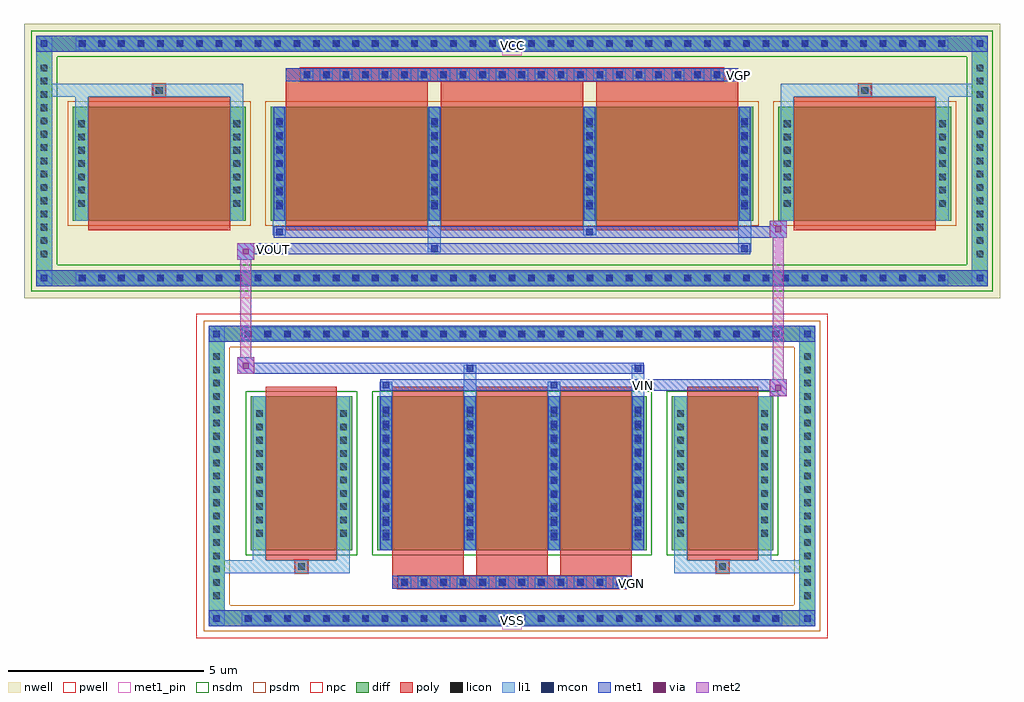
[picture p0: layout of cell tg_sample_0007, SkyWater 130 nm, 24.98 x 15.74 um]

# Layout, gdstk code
import gdstk
lib = gdstk.Library(unit=1e-6, precision=5e-09)
def R(c, l, rs):  # rectangles x0, y0, x1, y1
    for r in rs: c.add(gdstk.rectangle(r[:2], r[2:], *l))
def A(c, l, x, y, w, h, nx, ny, dx, dy):  # array of equal rectangles
    R(c, l, [(x+i*dx, y+j*dy, x+i*dx+w, y+j*dy+h) for i in range(nx) for j in range(ny)])
def P(c, l, *ps):  # polygons
    for p in ps: c.add(gdstk.Polygon(p, *l))
nwell = (64, 20)
pwell = (64, 44)
diff = (65, 20)
poly = (66, 20)
licon = (66, 44)
li1 = (67, 20)
mcon = (67, 44)
met1_pin = (68, 16)
met1 = (68, 20)
via = (68, 44)
met2 = (69, 20)
nsdm = (93, 44)
psdm = (94, 20)
npc = (95, 20)

tg_sample_0007 = lib.new_cell('tg_sample_0007')
R(tg_sample_0007, nwell, [(-12.49,4.555,12.49,11.585)])
R(tg_sample_0007, pwell, [(-8.075,-4.155,8.075,4.155)])
A(tg_sample_0007, diff, -6.955, -3.845, 0.41, 0.41, 28, 2, 0.5, 7.28)
A(tg_sample_0007, diff, -7.765, -3.265, 0.41, 0.41, 1, 19, 0, 0.34)
A(tg_sample_0007, diff, 7.355, -3.265, 0.41, 0.41, 1, 19, 0, 0.34)
A(tg_sample_0007, diff, -11.205, 4.865, 0.41, 0.41, 45, 2, 0.5, 6)
A(tg_sample_0007, diff, -12.18, 5.485, 0.41, 0.41, 1, 15, 0, 0.34)
A(tg_sample_0007, diff, 11.77, 5.485, 0.41, 0.41, 1, 15, 0, 0.34)
R(tg_sample_0007, diff, [(-6.955,-3.845,6.955,-3.435), (-7.765,-3.265,-7.355,3.265), (7.355,-3.265,7.765,3.265), (-6.69,-1.9,-4.09,2.04), (-3.45,-1.9,3.45,2.04), (4.09,-1.9,6.69,2.04), (-6.955,3.435,6.955,3.845), (-11.205,4.865,11.205,5.275), (-12.18,5.485,-11.77,10.655), (11.77,5.485,12.18,10.655), (-11.24,6.54,-6.82,9.46), (-6.18,6.54,6.18,9.46), (6.82,6.54,11.24,9.46), (-11.205,10.865,11.205,11.275)])
P(tg_sample_0007, diff, [(7.765,3.845),(-7.765,3.845),(-7.765,-3.435),(-7.355,-3.435),(-7.355,3.435),(7.355,3.435),(7.355,-3.435),(-7.355,-3.435),(-7.765,-3.435),(-7.765,-3.845),(7.765,-3.845)],
  [(12.18,4.865),(-12.18,4.865),(-12.18,10.865),(-11.77,10.865),(-11.77,5.275),(11.77,5.275),(11.77,10.865),(-11.77,10.865),(-12.18,10.865),(-12.18,11.275),(12.18,11.275)])
A(tg_sample_0007, poly, -2.915, -2.88, 0.33, 0.33, 12, 1, 0.5, 0)
A(tg_sample_0007, poly, -3.06, -2.55, 1.82, 0.4, 3, 1, 2.15, 0)
A(tg_sample_0007, poly, -3.06, -2.15, 1.82, 4.44, 3, 1, 2.15, 0)
A(tg_sample_0007, poly, -5.79, 6.29, 3.64, 3.42, 3, 1, 3.97, 0)
A(tg_sample_0007, poly, -5.79, 9.71, 3.64, 0.4, 3, 1, 3.97, 0)
A(tg_sample_0007, poly, -5.415, 10.11, 0.33, 0.33, 22, 1, 0.5, 0)
R(tg_sample_0007, poly, [(-3.06,-2.88,3.06,-2.55), (-5.555,-2.48,-5.225,-2.15), (-5.555,-2.48,-5.225,-2.15), (5.225,-2.48,5.555,-2.15), (5.225,-2.48,5.555,-2.15), (-6.3,-2.15,-4.48,2.29), (4.48,-2.15,6.3,2.29), (-10.85,6.29,-7.21,9.71), (7.21,6.29,10.85,9.71), (-9.195,9.71,-8.865,10.04), (-9.195,9.71,-8.865,10.04), (8.865,9.71,9.195,10.04), (8.865,9.71,9.195,10.04), (-5.79,10.11,5.79,10.44)])
A(tg_sample_0007, licon, -6.835, -3.725, 0.17, 0.17, 28, 2, 0.5, 7.28)
A(tg_sample_0007, licon, -7.645, -3.145, 0.17, 0.17, 1, 19, 0, 0.34)
A(tg_sample_0007, licon, 7.475, -3.145, 0.17, 0.17, 1, 19, 0, 0.34)
A(tg_sample_0007, licon, -2.835, -2.8, 0.17, 0.17, 12, 1, 0.5, 0)
A(tg_sample_0007, licon, -6.55, -1.545, 0.17, 0.17, 1, 10, 0, 0.34)
A(tg_sample_0007, licon, -4.4, -1.545, 0.17, 0.17, 1, 10, 0, 0.34)
A(tg_sample_0007, licon, -3.31, -1.545, 0.17, 0.17, 4, 10, 2.15, 0.34)
A(tg_sample_0007, licon, 4.23, -1.545, 0.17, 0.17, 1, 10, 0, 0.34)
A(tg_sample_0007, licon, 6.38, -1.545, 0.17, 0.17, 1, 10, 0, 0.34)
A(tg_sample_0007, licon, -11.085, 4.985, 0.17, 0.17, 45, 2, 0.5, 6)
A(tg_sample_0007, licon, -12.06, 5.605, 0.17, 0.17, 1, 15, 0, 0.34)
A(tg_sample_0007, licon, 11.89, 5.605, 0.17, 0.17, 1, 15, 0, 0.34)
A(tg_sample_0007, licon, -11.1, 6.895, 0.17, 0.17, 1, 7, 0, 0.34)
A(tg_sample_0007, licon, -7.13, 6.895, 0.17, 0.17, 1, 7, 0, 0.34)
A(tg_sample_0007, licon, -6.04, 6.895, 0.17, 0.17, 4, 7, 3.97, 0.34)
A(tg_sample_0007, licon, 6.96, 6.895, 0.17, 0.17, 1, 7, 0, 0.34)
A(tg_sample_0007, licon, 10.93, 6.895, 0.17, 0.17, 1, 7, 0, 0.34)
A(tg_sample_0007, licon, -5.335, 10.19, 0.17, 0.17, 22, 1, 0.5, 0)
R(tg_sample_0007, licon, [(-5.475,-2.4,-5.305,-2.23), (5.305,-2.4,5.475,-2.23), (-9.115,9.79,-8.945,9.96), (8.945,9.79,9.115,9.96)])
A(tg_sample_0007, li1, -6.915, -3.805, 0.33, 0.33, 28, 2, 0.5, 7.28)
A(tg_sample_0007, li1, -7.725, -3.225, 0.33, 0.33, 1, 19, 0, 0.34)
A(tg_sample_0007, li1, 7.395, -3.225, 0.33, 0.33, 1, 19, 0, 0.34)
A(tg_sample_0007, li1, -2.915, -2.88, 0.33, 0.33, 12, 1, 0.5, 0)
A(tg_sample_0007, li1, -3.39, -1.9, 0.33, 3.94, 4, 1, 2.15, 0)
A(tg_sample_0007, li1, -3.31, -1.635, 0.17, 0.17, 4, 10, 2.15, 0.36)
A(tg_sample_0007, li1, -3.31, -1.635, 0.17, 3.41, 4, 1, 2.15, 0)
A(tg_sample_0007, li1, -6.63, -1.625, 0.33, 0.33, 1, 10, 0, 0.34)
A(tg_sample_0007, li1, -4.48, -1.625, 0.33, 0.33, 1, 10, 0, 0.34)
A(tg_sample_0007, li1, -3.39, -1.625, 0.33, 0.33, 4, 10, 2.15, 0.34)
A(tg_sample_0007, li1, 4.15, -1.625, 0.33, 0.33, 1, 10, 0, 0.34)
A(tg_sample_0007, li1, 6.3, -1.625, 0.33, 0.33, 1, 10, 0, 0.34)
A(tg_sample_0007, li1, -11.165, 4.905, 0.33, 0.33, 45, 2, 0.5, 6)
A(tg_sample_0007, li1, -12.14, 5.525, 0.33, 0.33, 1, 15, 0, 0.34)
A(tg_sample_0007, li1, 11.81, 5.525, 0.33, 0.33, 1, 15, 0, 0.34)
A(tg_sample_0007, li1, -6.12, 6.54, 0.33, 2.92, 4, 1, 3.97, 0)
A(tg_sample_0007, li1, -11.18, 6.815, 0.33, 0.33, 1, 7, 0, 0.34)
A(tg_sample_0007, li1, -7.21, 6.815, 0.33, 0.33, 1, 7, 0, 0.34)
A(tg_sample_0007, li1, -6.12, 6.815, 0.33, 0.33, 4, 7, 3.97, 0.34)
A(tg_sample_0007, li1, 6.88, 6.815, 0.33, 0.33, 1, 7, 0, 0.34)
A(tg_sample_0007, li1, 10.85, 6.815, 0.33, 0.33, 1, 7, 0, 0.34)
A(tg_sample_0007, li1, -6.04, 6.835, 0.17, 0.17, 4, 7, 3.97, 0.36)
A(tg_sample_0007, li1, -6.04, 6.835, 0.17, 2.33, 4, 1, 3.97, 0)
A(tg_sample_0007, li1, -5.415, 10.11, 0.33, 0.33, 22, 1, 0.5, 0)
R(tg_sample_0007, li1, [(-7.765,-3.845,-7.355,-3.435), (7.355,-3.845,7.765,-3.435), (-6.915,-3.805,6.915,-3.475), (-7.645,-3.725,-7.475,-3.555), (-7.645,-3.725,-7.475,-3.555), (7.475,-3.725,7.645,-3.555), (7.475,-3.725,7.645,-3.555), (-7.765,-3.435,-7.355,3.435), (7.355,-3.435,7.765,3.435), (-7.765,-2.48,-5.555,-2.15), (-6.63,-2.48,-5.555,-2.15), (-6.63,-2.48,-6.3,-1.9), (-5.555,-2.48,-5.225,-2.15), (-5.225,-2.48,-4.15,-2.15), (-4.48,-2.48,-4.15,-1.9), (4.15,-2.48,5.225,-2.15), (4.15,-2.48,4.48,-1.9), (5.225,-2.48,5.555,-2.15), (5.225,-2.48,7.765,-2.15), (5.555,-2.48,6.63,-2.15), (6.3,-2.48,6.63,-1.9), (-6.63,-1.9,-6.3,2.04), (-4.48,-1.9,-4.15,2.04), (4.15,-1.9,4.48,2.04), (6.3,-1.9,6.63,2.04), (-3.39,2.04,-3.06,2.415), (-1.24,2.04,-0.91,2.845), (0.91,2.04,1.24,2.415), (3.06,2.04,3.39,2.845), (-3.31,2.245,-3.14,2.415), (0.99,2.245,1.16,2.415), (-1.16,2.675,-0.99,2.845), (3.14,2.675,3.31,2.845), (-7.765,3.435,-7.355,3.845), (7.355,3.435,7.765,3.845), (-6.915,3.475,6.915,3.805), (-7.645,3.555,-7.475,3.725), (-7.645,3.555,-7.475,3.725), (7.475,3.555,7.645,3.725), (7.475,3.555,7.645,3.725), (-12.18,4.865,-11.77,5.275), (11.77,4.865,12.18,5.275), (-11.165,4.905,11.165,5.235), (-12.06,4.985,-11.89,5.155), (-12.06,4.985,-11.89,5.155), (11.89,4.985,12.06,5.155), (11.89,4.985,12.06,5.155), (-12.18,5.275,-11.77,10.865), (11.77,5.275,12.18,10.865), (-2.15,5.735,-1.82,6.54), (-2.07,5.735,-1.9,5.905), (5.79,5.735,6.12,6.54), (5.87,5.735,6.04,5.905), (-6.12,6.165,-5.79,6.54), (-6.04,6.165,-5.87,6.335), (1.82,6.165,2.15,6.54), (1.9,6.165,2.07,6.335), (-11.18,6.54,-10.85,9.46), (-7.21,6.54,-6.88,9.46), (6.88,6.54,7.21,9.46), (10.85,6.54,11.18,9.46), (-11.18,9.46,-10.85,10.04), (-7.21,9.46,-6.88,10.04), (6.88,9.46,7.21,10.04), (10.85,9.46,11.18,10.04), (-12.18,9.71,-9.195,10.04), (-11.18,9.71,-9.195,10.04), (-9.195,9.71,-8.865,10.04), (-8.865,9.71,-6.88,10.04), (6.88,9.71,8.865,10.04), (8.865,9.71,9.195,10.04), (8.865,9.71,12.18,10.04), (9.195,9.71,11.18,10.04), (-12.18,10.865,-11.77,11.275), (11.77,10.865,12.18,11.275), (-11.165,10.905,11.165,11.235), (-12.06,10.985,-11.89,11.155), (-12.06,10.985,-11.89,11.155), (11.89,10.985,12.06,11.155), (11.89,10.985,12.06,11.155)])
A(tg_sample_0007, mcon, -6.835, -3.725, 0.17, 0.17, 28, 2, 0.5, 7.28)
A(tg_sample_0007, mcon, -2.835, -2.8, 0.17, 0.17, 12, 1, 0.5, 0)
A(tg_sample_0007, mcon, -3.31, -1.635, 0.17, 0.17, 4, 10, 2.15, 0.36)
A(tg_sample_0007, mcon, -11.085, 4.985, 0.17, 0.17, 45, 2, 0.5, 6)
A(tg_sample_0007, mcon, -6.04, 6.835, 0.17, 0.17, 4, 7, 3.97, 0.36)
A(tg_sample_0007, mcon, -5.335, 10.19, 0.17, 0.17, 22, 1, 0.5, 0)
R(tg_sample_0007, mcon, [(-7.645,-3.725,-7.475,-3.555), (7.475,-3.725,7.645,-3.555), (-3.31,2.245,-3.14,2.415), (0.99,2.245,1.16,2.415), (-1.16,2.675,-0.99,2.845), (3.14,2.675,3.31,2.845), (-7.645,3.555,-7.475,3.725), (7.475,3.555,7.645,3.725), (-12.06,4.985,-11.89,5.155), (11.89,4.985,12.06,5.155), (-2.07,5.735,-1.9,5.905), (5.87,5.735,6.04,5.905), (-6.04,6.165,-5.87,6.335), (1.9,6.165,2.07,6.335), (-12.06,10.985,-11.89,11.155), (11.89,10.985,12.06,11.155)])
R(tg_sample_0007, met1_pin, [(-0.25,-3.935,0.25,-3.435), (2.925,-2.88,3.195,-2.61), (3.235,2.185,3.505,2.455), (-6.235,5.675,-5.965,5.945), (5.655,10.11,5.925,10.38), (-0.25,10.775,0.25,11.275)])
A(tg_sample_0007, met1, -6.895, -3.785, 0.29, 0.29, 28, 2, 0.5, 7.28)
A(tg_sample_0007, met1, -2.895, -2.86, 0.29, 0.29, 12, 1, 0.5, 0)
A(tg_sample_0007, met1, -3.37, -1.9, 0.29, 3.94, 4, 1, 2.15, 0)
A(tg_sample_0007, met1, -3.37, -1.695, 0.29, 0.29, 4, 10, 2.15, 0.36)
A(tg_sample_0007, met1, -11.145, 4.925, 0.29, 0.29, 45, 2, 0.5, 6)
A(tg_sample_0007, met1, -6.1, 6.54, 0.29, 2.92, 4, 1, 3.97, 0)
A(tg_sample_0007, met1, -6.1, 6.775, 0.29, 0.29, 4, 7, 3.97, 0.36)
A(tg_sample_0007, met1, -5.395, 10.13, 0.29, 0.29, 22, 1, 0.5, 0)
R(tg_sample_0007, met1, [(-7.765,-3.845,-7.355,-3.435), (-7.765,-3.845,-7.355,-3.435), (-7.355,-3.845,7.355,-3.435), (7.355,-3.845,7.765,-3.435), (7.355,-3.845,7.765,-3.435), (-7.705,-3.785,-7.415,-3.495), (7.415,-3.785,7.705,-3.495), (-3.06,-2.88,3.06,-2.55), (6.6,2.045,7.03,2.475), (-3.37,2.185,-3.08,2.475), (-3.37,2.185,3.37,2.475), (0.93,2.185,1.22,2.475), (3.37,2.185,7.03,2.475), (-7.03,2.615,-3.37,2.905), (-7.03,2.615,-6.6,3.045), (-3.37,2.615,3.37,2.905), (-1.22,2.615,-0.93,2.905), (3.08,2.615,3.37,2.905), (-7.765,3.435,-7.355,3.845), (-7.765,3.435,-7.355,3.845), (-7.355,3.435,7.355,3.845), (7.355,3.435,7.765,3.845), (7.355,3.435,7.765,3.845), (-7.705,3.495,-7.415,3.785), (7.415,3.495,7.705,3.785), (-12.18,4.865,-11.77,5.275), (-12.18,4.865,-11.77,5.275), (-11.77,4.865,11.77,5.275), (11.77,4.865,12.18,5.275), (11.77,4.865,12.18,5.275), (-12.12,4.925,-11.83,5.215), (11.83,4.925,12.12,5.215), (-7.03,5.535,-6.6,5.965), (-7.03,5.675,-6.1,5.965), (-6.1,5.675,6.1,5.965), (-2.13,5.675,-1.84,5.965), (5.81,5.675,6.1,5.965), (-6.1,6.105,-5.81,6.395), (-6.1,6.105,6.1,6.395), (1.84,6.105,2.13,6.395), (6.1,6.105,7.03,6.395), (6.6,6.105,7.03,6.535), (-5.79,10.11,5.79,10.44), (-12.18,10.865,-11.77,11.275), (-12.18,10.865,-11.77,11.275), (-11.77,10.865,11.77,11.275), (11.77,10.865,12.18,11.275), (11.77,10.865,12.18,11.275), (-12.12,10.925,-11.83,11.215), (11.83,10.925,12.12,11.215)])
R(tg_sample_0007, via, [(6.74,2.185,6.89,2.335), (-6.89,2.755,-6.74,2.905), (-6.89,5.675,-6.74,5.825), (6.74,6.245,6.89,6.395)])
R(tg_sample_0007, met2, [(6.6,2.045,7.03,2.475), (6.67,2.045,6.96,6.535), (6.96,2.045,7.03,2.475), (6.65,2.095,6.98,2.425), (-7.03,2.615,-6.6,3.045), (-6.96,2.615,-6.67,5.965), (-6.67,2.615,-6.6,3.045), (-6.98,2.665,-6.65,2.995), (-7.03,5.535,-6.6,5.965), (-6.67,5.535,-6.6,5.965), (-6.98,5.585,-6.65,5.915), (6.6,6.105,7.03,6.535), (6.96,6.105,7.03,6.535), (6.65,6.155,6.98,6.485)])
R(tg_sample_0007, nsdm, [(-6.82,-2.03,-3.96,2.17), (-3.58,-2.03,3.58,2.17), (3.96,-2.03,6.82,2.17)])
P(tg_sample_0007, nsdm, [(12.31,4.735),(-12.31,4.735),(-12.31,10.735),(-11.64,10.735),(-11.64,5.405),(11.64,5.405),(11.64,10.735),(-11.64,10.735),(-12.31,10.735),(-12.31,11.405),(12.31,11.405)])
R(tg_sample_0007, psdm, [(-11.37,6.41,-6.69,9.59), (-6.31,6.41,6.31,9.59), (6.69,6.41,11.37,9.59)])
P(tg_sample_0007, psdm, [(7.895,3.975),(-7.895,3.975),(-7.895,-3.305),(-7.225,-3.305),(-7.225,3.305),(7.225,3.305),(7.225,-3.305),(-7.225,-3.305),(-7.895,-3.305),(-7.895,-3.975),(7.895,-3.975)])
A(tg_sample_0007, npc, -2.935, -2.9, 0.37, 0.37, 12, 1, 0.5, 0)
A(tg_sample_0007, npc, -5.435, 10.09, 0.37, 0.37, 22, 1, 0.5, 0)
R(tg_sample_0007, npc, [(-2.935,-2.9,-2.065,-2.53), (-2.935,-2.9,-2.065,-2.53), (-2.435,-2.9,-1.565,-2.53), (-2.435,-2.9,-1.565,-2.53), (-1.935,-2.9,-1.065,-2.53), (-1.935,-2.9,-1.065,-2.53), (-1.435,-2.9,-0.565,-2.53), (-1.435,-2.9,-0.565,-2.53), (-0.935,-2.9,-0.065,-2.53), (-0.935,-2.9,-0.065,-2.53), (-0.435,-2.9,0.435,-2.53), (-0.435,-2.9,0.435,-2.53), (0.065,-2.9,0.935,-2.53), (0.065,-2.9,0.935,-2.53), (0.565,-2.9,1.435,-2.53), (0.565,-2.9,1.435,-2.53), (1.065,-2.9,1.935,-2.53), (1.065,-2.9,1.935,-2.53), (1.565,-2.9,2.435,-2.53), (1.565,-2.9,2.435,-2.53), (2.065,-2.9,2.935,-2.53), (2.065,-2.9,2.935,-2.53), (-5.575,-2.5,-5.205,-2.13), (5.205,-2.5,5.575,-2.13), (-9.215,9.69,-8.845,10.06), (8.845,9.69,9.215,10.06), (-5.435,10.09,-4.565,10.46), (-5.435,10.09,-4.565,10.46), (-4.935,10.09,-4.065,10.46), (-4.935,10.09,-4.065,10.46), (-4.435,10.09,-3.565,10.46), (-4.435,10.09,-3.565,10.46), (-3.935,10.09,-3.065,10.46), (-3.935,10.09,-3.065,10.46), (-3.435,10.09,-2.565,10.46), (-3.435,10.09,-2.565,10.46), (-2.935,10.09,-2.065,10.46), (-2.935,10.09,-2.065,10.46), (-2.435,10.09,-1.565,10.46), (-2.435,10.09,-1.565,10.46), (-1.935,10.09,-1.065,10.46), (-1.935,10.09,-1.065,10.46), (-1.435,10.09,-0.565,10.46), (-1.435,10.09,-0.565,10.46), (-0.935,10.09,-0.065,10.46), (-0.935,10.09,-0.065,10.46), (-0.435,10.09,0.435,10.46), (-0.435,10.09,0.435,10.46), (0.065,10.09,0.935,10.46), (0.065,10.09,0.935,10.46), (0.565,10.09,1.435,10.46), (0.565,10.09,1.435,10.46), (1.065,10.09,1.935,10.46), (1.065,10.09,1.935,10.46), (1.565,10.09,2.435,10.46), (1.565,10.09,2.435,10.46), (2.065,10.09,2.935,10.46), (2.065,10.09,2.935,10.46), (2.565,10.09,3.435,10.46), (2.565,10.09,3.435,10.46), (3.065,10.09,3.935,10.46), (3.065,10.09,3.935,10.46), (3.565,10.09,4.435,10.46), (3.565,10.09,4.435,10.46), (4.065,10.09,4.935,10.46), (4.065,10.09,4.935,10.46), (4.565,10.09,5.435,10.46), (4.565,10.09,5.435,10.46)])
tg_sample_0007.add(gdstk.Label('VIN', (3.37,2.32), layer=68, texttype=5))
tg_sample_0007.add(gdstk.Label('VGN', (3.06,-2.745), layer=68, texttype=5))
tg_sample_0007.add(gdstk.Label('VGP', (5.79,10.245), layer=68, texttype=5))
tg_sample_0007.add(gdstk.Label('VSS', (0,-3.685), layer=68, texttype=5))
tg_sample_0007.add(gdstk.Label('VCC', (0,11.025), layer=68, texttype=5))
tg_sample_0007.add(gdstk.Label('VOUT', (-6.1,5.81), layer=68, texttype=5))

lib.write_gds('tg_sample_0007.gds')
